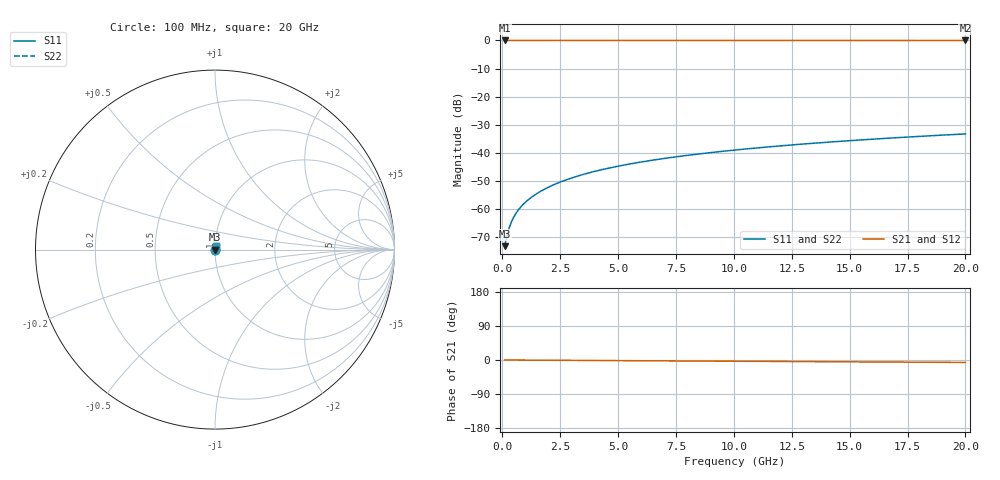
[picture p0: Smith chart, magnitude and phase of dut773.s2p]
! Touchstone file exported from HFSS 2026.1.0
!  File:  C:/ffzhzh/LocalFiles/Ansys_Project_Files/temp_train_TSV_773_1783183501_55132.aedt
!  Generated:  12:46:34 AM Jul  5, 2026
!  Design:  TSV
!  Project:  temp_train_TSV_773_1783183501_55132
! Variables:
!  h_bsmrdl = 2um
!  h_ox = 20um
!  h_rdl = 5um
!  h_sub = 61.39um
!  h_tmrdl = 5um
!  h_tsv = 61.39um
!  h_via = 3um
!  l_bsmrdl = 300um
!  l_sub = 414.78um
!  l_tmrdl = 200um
!  m_sub = 200um
!  pitch = 37.64um
!  r_tsv = 7.39um
!  s_tmrdl = 10um
!  w_bsmrdl = 18um
!  w_sub = 500um
!  w_tmrdl = 12um
!  x_tsv_center1 = 206um
!  x_tsv_center2 = 524um
!  x_tsv_center3 = 736um
!  x_tsv_center4 = 1054um
!  x_tsv_center5 = 1266um
!  x_tsv_center6 = 1584um
# GHz S MA R 50.000000
! Terminal data exported
! Port[1] = TSV1_1_T1
! Port[2] = TSV1_1_T2
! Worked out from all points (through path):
!   200 points, 100 MHz to 20 GHz, reference 50 ohm
!   highest |S21| = 0.00 dB at 100 MHz (marker M1); lowest = 0.0 dB at 20 GHz (marker M2)
!   lowest |S11| = -73.1 dB at 100 MHz (marker M3), VSWR 1.00, Z = 50 + j0.0147 ohm
!   |S11| at or under -10 dB: start of sweep to end of sweep
!   |S22| runs from -73.1 to -33.2 dB; largest |S21 - S12| = 3.1e-15
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0.1  0.0002216 41.5  0.9998 -0.0  0.9998 -0.0  0.0002216 41.5
! Gamma 0 0 0 0
! Port Impedance 50 0 50 0
0.2  0.0003403 58.8  0.9998 -0.1  0.9998 -0.1  0.0003403 58.8
0.3  0.0004721 66.1  0.9998 -0.1  0.9998 -0.1  0.0004721 66.1
0.4  0.0006047 69.6  0.9998 -0.1  0.9998 -0.1  0.0006047 69.6
0.5  0.0007347 71.7  0.9998 -0.2  0.9998 -0.2  0.0007347 71.7
0.6  0.0008613 73.1  0.9998 -0.2  0.9998 -0.2  0.0008613 73.1
0.7  0.0009847 74.0  0.9997 -0.2  0.9997 -0.2  0.0009847 74.0
0.8  0.001105 74.8  0.9997 -0.3  0.9997 -0.3  0.001105 74.8
1  0.001341 76.0  0.9997 -0.3  0.9997 -0.3  0.001341 76.0
1.4  0.001801 77.9  0.9996 -0.5  0.9996 -0.5  0.001801 77.9
1.7  0.002142 78.9  0.9996 -0.6  0.9996 -0.6  0.002142 78.9
2  0.002483 79.6  0.9996 -0.7  0.9996 -0.7  0.002483 79.6
2.7  0.003276 80.8  0.9995 -0.9  0.9995 -0.9  0.003276 80.8
3.5  0.004176 81.5  0.9995 -1.1  0.9995 -1.1  0.004176 81.5
4.2  0.004957 81.9  0.9994 -1.4  0.9994 -1.4  0.004957 81.9
5  0.005842 82.1  0.9993 -1.6  0.9993 -1.6  0.005842 82.1
6.8  0.007808 82.2  0.9992 -2.2  0.9992 -2.2  0.007808 82.3
8.3  0.009429 82.2  0.9991 -2.7  0.9991 -2.7  0.009429 82.2
10.1  0.01136 82.1  0.999 -3.3  0.999 -3.3  0.01136 82.1
13.4  0.01489 81.6  0.9988 -4.3  0.9988 -4.3  0.01489 81.6
16.7  0.01839 81.0  0.9987 -5.4  0.9987 -5.4  0.01839 81.0
20  0.02185 80.2  0.9985 -6.4  0.9985 -6.4  0.02185 80.2
